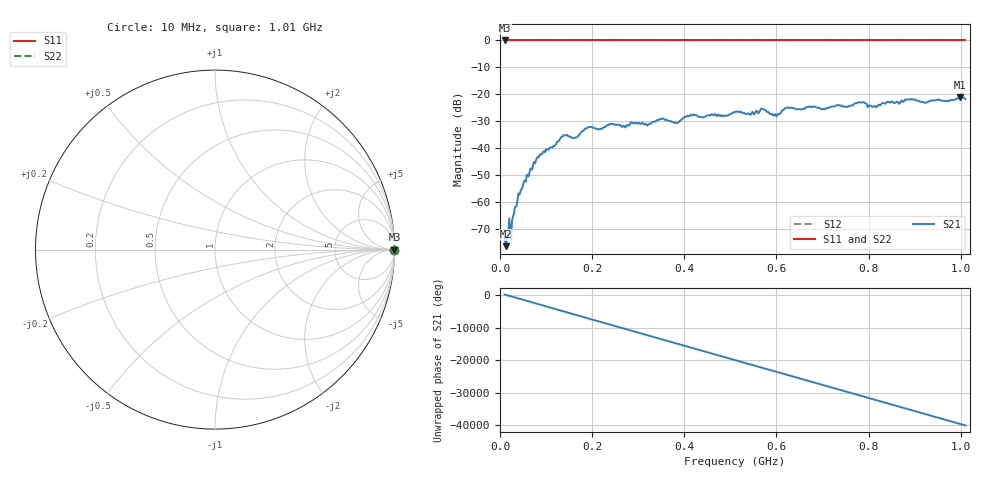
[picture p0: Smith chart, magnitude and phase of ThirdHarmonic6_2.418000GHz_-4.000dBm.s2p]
! 8/17/2025 4:06:06 AM
! C:\ANRITSUVNA\TEMP\TEMP.S2P
! CHANNEL.1
! TR.MEASUREMENT
! RAW.DATA
! RF.CORRECTION.OFF
! AVERAGING.OFF
! IF.BANDWIDTH: 5KHZ
! SWEEPTYPE:  FREQ.SWEEP(Linear)
! Reference Plane Port Info
! PORT:  PORT1  PORT2
! DISTANCE:  0  m  0  m
! TIME:  0  s  0  s
! PHASE.OFFSET:  0  deg.  0  deg.
! LOSS:  0  dB  0  dB
! REF.LOSS:  0  dB  0  dB
! REF.FREQ:  0  Hz  0  Hz
! Power Info
! POWER:  -20  dBm  -20  dBm
! EFF.POWER:  -20  dBm  -20  dBm
! SOURCE.ATTEN:  0  dB  0  dB
! TEST.ATTEN:  0  dB  0  dB
# GHZ S RI R 50.0
! FREQ.GHZ  S11RE  S11IM  S21RE  S21IM  S12RE  S12IM  S22RE  S22IM
!; PortSelection: Port_12
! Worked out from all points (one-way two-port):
!   501 points, 10 MHz to 1.01 GHz, reference 50 ohm
!   highest |S21| = -21.05 dB at 998 MHz (marker M1); lowest = -76.2 dB at 12 MHz (marker M2)
!   lowest |S11| = 0.0 dB at 10 MHz (marker M3)
!   |S11| at or under -10 dB: nowhere
!   |S22| runs from 0.0 to 0.0 dB; largest |S21 - S12| = 1.1
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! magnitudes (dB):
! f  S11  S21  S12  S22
! 10 MHz  0.0  -72.7  0.0  0.0
! 12 MHz  0.0  -76.2  0.0  0.0
! 26 MHz  0.0  -67.1  0.0  0.0
! 42 MHz  0.0  -57.2  0.0  0.0
! 82 MHz  0.0  -43.2  0.0  0.0
! 136 MHz  0.0  -35.6  0.0  0.0
! 162 MHz  0.0  -36.1  0.0  0.0
! 178 MHz  0.0  -33.7  0.0  0.0
! 194 MHz  0.0  -32.1  0.0  0.0
! 344 MHz  0.0  -29.5  0.0  0.0
! 382 MHz  0.0  -30.4  0.0  0.0
! 418 MHz  0.0  -27.7  0.0  0.0
! 510 MHz  0.0  -26.5  0.0  0.0
! 570 MHz  0.0  -25.3  0.0  0.0
! 596 MHz  0.0  -27.3  0.0  0.0
! 622 MHz  0.0  -24.9  0.0  0.0
! 678 MHz  0.0  -24.7  0.0  0.0
! 784 MHz  0.0  -23.0  0.0  0.0
! 814 MHz  0.0  -24.3  0.0  0.0
! 844 MHz  0.0  -22.9  0.0  0.0
! 998 MHz  0.0  -21.0  0.0  0.0
! 1.01 GHz  0.0  -21.7  0.0  0.0
